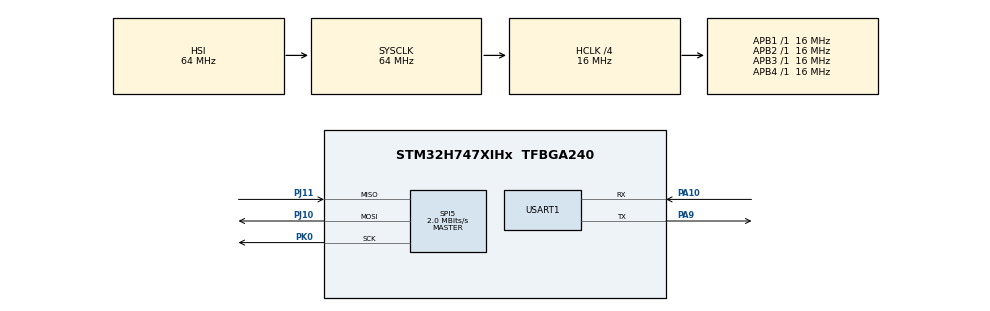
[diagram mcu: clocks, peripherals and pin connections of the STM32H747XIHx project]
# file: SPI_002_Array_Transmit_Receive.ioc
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CortexM4.IPs=BDMA,DMA,FATFS_M4\:I,FREERTOS_M4\:I,IWDG2\:I,MDMA,NVIC2\:I,RCC,USB_DEVICE_M4\:I,USB_HOST_M4\:I,WWDG2\:I,ADC1\:I,DCMI\:I,TIM3\:I,DEBUG,PDM2PCM_M4\:I,PWR,RESMGR_UTILITY,SYS_M4\:I,CORTEX_M4\:I,OPENAMP_M4\:I,VREFBUF,GPIO
CortexM7.IPs=BDMA\:I,DMA\:I,FATFS_M7\:I,FREERTOS_M7\:I,IWDG1\:I,MDMA\:I,NVIC1\:I,RCC\:I,USB_DEVICE_M7\:I,USB_HOST_M7\:I,WWDG1\:I,CORTEX_M7\:I,DEBUG\:I,PDM2PCM_M7\:I,PWR\:I,RESMGR_UTILITY\:I,SYS\:I,OPENAMP_M7\:I,VREFBUF\:I,GPIO\:I,SPI5\:I,USART1\:I
Mcu.Family=STM32H7
Mcu.Name=STM32H747XIHx
Mcu.Package=TFBGA240
NVIC1.PriorityGroup=NVIC_PRIORITYGROUP_4
NVIC1.SPI5_IRQn=true\:0\:0\:false\:false\:true\:true\:true\:true
NVIC2.PriorityGroup=NVIC_PRIORITYGROUP_4
PA10.Mode=Asynchronous
PA10.PinAttribute=CortexM7
PA10.Signal=USART1_RX
PA9.Mode=Asynchronous
PA9.PinAttribute=CortexM7
PA9.Signal=USART1_TX
PJ10.Mode=Full_Duplex_Master
PJ10.PinAttribute=CortexM7
PJ10.Signal=SPI5_MOSI
PJ11.Mode=Full_Duplex_Master
PJ11.PinAttribute=CortexM7
PJ11.Signal=SPI5_MISO
PK0.Mode=Full_Duplex_Master
PK0.PinAttribute=CortexM7
PK0.Signal=SPI5_SCK
ProjectManager.HeapSize=M4-0x200,M7-0x200
ProjectManager.StackSize=M4-0x400,M7-0x400
ProjectManager.TargetToolchain=STM32CubeIDE
RCC.ADCFreq_Value=75000000
RCC.APB1Freq_Value=16000000
RCC.APB2Freq_Value=16000000
RCC.APB3Freq_Value=16000000
RCC.APB4Freq_Value=16000000
RCC.CortexFreq_Value=64000000
RCC.DIVM2=4
RCC.DIVN2=9
RCC.HCLKFreq_Value=16000000
RCC.HPRE=RCC_HCLK_DIV4
RCC.PLL2FRACN=3072
RCC.PWR_Regulator_Voltage_Scale=PWR_REGULATOR_VOLTAGE_SCALE1
RCC.SYSCLKFreq_VALUE=64000000
RCC.SupplySource=PWR_DIRECT_SMPS_SUPPLY
RCC.USBFreq_Value=129000000
SPI5.BaudRatePrescaler=SPI_BAUDRATEPRESCALER_8
SPI5.CalculateBaudRate=2.0 MBits/s
SPI5.DataSize=SPI_DATASIZE_8BIT
SPI5.Direction=SPI_DIRECTION_2LINES
SPI5.Mode=SPI_MODE_MASTER
SPI5.VirtualType=VM_MASTER
USART1.VirtualMode-Asynchronous=VM_ASYNC
VP_SYS_M4_VS_Systick.Mode=SysTick
board=STM32H747I-DISCO

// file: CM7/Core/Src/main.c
/* USER CODE BEGIN Header */
/**
  ******************************************************************************
  * @file           : main.c
  * @brief          : Main program body
  ******************************************************************************
  * @attention
  *
  * Copyright (c) 2024 STMicroelectronics.
  * All rights reserved.
  *
  * This software is licensed under terms that can be found in the LICENSE file
  * in the root directory of this software component.
  * If no LICENSE file comes with this software, it is provided AS-IS.
  *
  ******************************************************************************
  */
/* USER CODE END Header */
#include "main.h"

/* USER CODE BEGIN Includes */
#include "stdio.h"
/* USER CODE END Includes */

/* USER CODE BEGIN PD */

#ifndef HSEM_ID_0
#define HSEM_ID_0 (0U) /* HW semaphore 0*/
#endif

/* USER CODE END PD */

SPI_HandleTypeDef hspi5;

UART_HandleTypeDef huart1;

/* USER CODE BEGIN PV */
uint8_t spi_tx_buffer[] = {1, 2, 3, 4, 5, 6, 7, 8, 9, 10}; // Data to send
uint8_t spi_rx_buffer[20] = {0};  // Buffer to store received data
volatile uint8_t spi_done = 0;    // SPI transaction complete flag

/* SPI Callback - Called when SPI transfer is complete */
void HAL_SPI_TxRxCpltCallback(SPI_HandleTypeDef *hspi)
{
    spi_done = 1; // Set flag to indicate SPI transaction complete
}
/* USER CODE END PV */

void SystemClock_Config(void);
static void MX_GPIO_Init(void);
static void MX_SPI5_Init(void);
static void MX_USART1_UART_Init(void);

/* USER CODE BEGIN 0 */
int __io_putchar(char ch)
{
    HAL_UART_Transmit(&huart1, (uint8_t *)&ch, 1, HAL_MAX_DELAY);
    return ch;
}

/* USER CODE END 0 */

int main(void)
{

/* USER CODE BEGIN Boot_Mode_Sequence_0 */
//  int32_t timeout;
/* USER CODE END Boot_Mode_Sequence_0 */

/* USER CODE BEGIN Boot_Mode_Sequence_1 */
  /* Wait until CPU2 boots and enters in stop mode or timeout*/
//  timeout = 0xFFFF;
//  while((__HAL_RCC_GET_FLAG(RCC_FLAG_D2CKRDY) != RESET) && (timeout-- > 0));
//  if ( timeout < 0 )
//  {
//  Error_Handler();
//  }
/* USER CODE END Boot_Mode_Sequence_1 */
  /* MCU Configuration--------------------------------------------------------*/

  /* Reset of all peripherals, Initializes the Flash interface and the Systick. */
  HAL_Init();

  /* Configure the system clock */
  SystemClock_Config();
/* USER CODE BEGIN Boot_Mode_Sequence_2 */
/* When system initialization is finished, Cortex-M7 will release Cortex-M4 by means of
HSEM notification */
/*HW semaphore Clock enable*/
//__HAL_RCC_HSEM_CLK_ENABLE();
///*Take HSEM */
//HAL_HSEM_FastTake(HSEM_ID_0);
///*Release HSEM in order to notify the CPU2(CM4)*/
//HAL_HSEM_Release(HSEM_ID_0,0);
///* wait until CPU2 wakes up from stop mode */
//timeout = 0xFFFF;
//while((__HAL_RCC_GET_FLAG(RCC_FLAG_D2CKRDY) == RESET) && (timeout-- > 0));
//if ( timeout < 0 )
//{
//Error_Handler();
//}
/* USER CODE END Boot_Mode_Sequence_2 */

  /* Initialize all configured peripherals */
  MX_GPIO_Init();
  MX_SPI5_Init();
  MX_USART1_UART_Init();

  /* Infinite loop */
  /* USER CODE BEGIN WHILE */
  while (1)
  {
	  /* Start SPI Communication */
	         spi_done = 0; // Reset the flag
	         HAL_SPI_TransmitReceive_IT(&hspi5, spi_tx_buffer, spi_rx_buffer, sizeof(spi_tx_buffer));
	         printf("Received Array: ");
	         /* Wait for SPI Transaction to Complete */
	         while (!spi_done);

	         /* Print Received Array Numbers */
	         printf("Received Array: ");
	         for (int i = 0; i < sizeof(spi_rx_buffer); i++)
	         {
	             printf("%d ", spi_rx_buffer[i]);
	         }
	         printf("\n");

	         HAL_Delay(1000); // Delay 1 second before next transaction

    /* USER CODE END WHILE */

  }
}

void SystemClock_Config(void)
{
  RCC_OscInitTypeDef RCC_OscInitStruct = {0};
  RCC_ClkInitTypeDef RCC_ClkInitStruct = {0};

  /** Supply configuration update enable
  */
  HAL_PWREx_ConfigSupply(PWR_DIRECT_SMPS_SUPPLY);

  /** Configure the main internal regulator output voltage
  */
  __HAL_PWR_VOLTAGESCALING_CONFIG(PWR_REGULATOR_VOLTAGE_SCALE1);

  while(!__HAL_PWR_GET_FLAG(PWR_FLAG_VOSRDY)) {}

  /** Initializes the RCC Oscillators according to the specified parameters
  * in the RCC_OscInitTypeDef structure.
  */
  RCC_OscInitStruct.OscillatorType = RCC_OSCILLATORTYPE_HSI;
  RCC_OscInitStruct.HSIState = RCC_HSI_DIV1;
  RCC_OscInitStruct.HSICalibrationValue = RCC_HSICALIBRATION_DEFAULT;
  RCC_OscInitStruct.PLL.PLLState = RCC_PLL_NONE;
  if (HAL_RCC_OscConfig(&RCC_OscInitStruct) != HAL_OK)
  {
    Error_Handler();
  }

  /** Initializes the CPU, AHB and APB buses clocks
  */
  RCC_ClkInitStruct.ClockType = RCC_CLOCKTYPE_HCLK|RCC_CLOCKTYPE_SYSCLK
                              |RCC_CLOCKTYPE_PCLK1|RCC_CLOCKTYPE_PCLK2
                              |RCC_CLOCKTYPE_D3PCLK1|RCC_CLOCKTYPE_D1PCLK1;
  RCC_ClkInitStruct.SYSCLKSource = RCC_SYSCLKSOURCE_HSI;
  RCC_ClkInitStruct.SYSCLKDivider = RCC_SYSCLK_DIV1;
  RCC_ClkInitStruct.AHBCLKDivider = RCC_HCLK_DIV4;
  RCC_ClkInitStruct.APB3CLKDivider = RCC_APB3_DIV1;
  RCC_ClkInitStruct.APB1CLKDivider = RCC_APB1_DIV1;
  RCC_ClkInitStruct.APB2CLKDivider = RCC_APB2_DIV1;
  RCC_ClkInitStruct.APB4CLKDivider = RCC_APB4_DIV1;

  if (HAL_RCC_ClockConfig(&RCC_ClkInitStruct, FLASH_LATENCY_0) != HAL_OK)
  {
    Error_Handler();
  }
}

static void MX_SPI5_Init(void)
{

  /* SPI5 parameter configuration*/
  hspi5.Instance = SPI5;
  hspi5.Init.Mode = SPI_MODE_MASTER;
  hspi5.Init.Direction = SPI_DIRECTION_2LINES;
  hspi5.Init.DataSize = SPI_DATASIZE_8BIT;
  hspi5.Init.CLKPolarity = SPI_POLARITY_LOW;
  hspi5.Init.CLKPhase = SPI_PHASE_1EDGE;
  hspi5.Init.NSS = SPI_NSS_SOFT;
  hspi5.Init.BaudRatePrescaler = SPI_BAUDRATEPRESCALER_8;
  hspi5.Init.FirstBit = SPI_FIRSTBIT_MSB;
  hspi5.Init.TIMode = SPI_TIMODE_DISABLE;
  hspi5.Init.CRCCalculation = SPI_CRCCALCULATION_DISABLE;
  hspi5.Init.CRCPolynomial = 0x0;
  hspi5.Init.NSSPMode = SPI_NSS_PULSE_ENABLE;
  hspi5.Init.NSSPolarity = SPI_NSS_POLARITY_LOW;
  hspi5.Init.FifoThreshold = SPI_FIFO_THRESHOLD_01DATA;
  hspi5.Init.TxCRCInitializationPattern = SPI_CRC_INITIALIZATION_ALL_ZERO_PATTERN;
  hspi5.Init.RxCRCInitializationPattern = SPI_CRC_INITIALIZATION_ALL_ZERO_PATTERN;
  hspi5.Init.MasterSSIdleness = SPI_MASTER_SS_IDLENESS_00CYCLE;
  hspi5.Init.MasterInterDataIdleness = SPI_MASTER_INTERDATA_IDLENESS_00CYCLE;
  hspi5.Init.MasterReceiverAutoSusp = SPI_MASTER_RX_AUTOSUSP_DISABLE;
  hspi5.Init.MasterKeepIOState = SPI_MASTER_KEEP_IO_STATE_DISABLE;
  hspi5.Init.IOSwap = SPI_IO_SWAP_DISABLE;
  if (HAL_SPI_Init(&hspi5) != HAL_OK)
  {
    Error_Handler();
  }

}

static void MX_USART1_UART_Init(void)
{

  huart1.Instance = USART1;
  huart1.Init.BaudRate = 115200;
  huart1.Init.WordLength = UART_WORDLENGTH_8B;
  huart1.Init.StopBits = UART_STOPBITS_1;
  huart1.Init.Parity = UART_PARITY_NONE;
  huart1.Init.Mode = UART_MODE_TX_RX;
  huart1.Init.HwFlowCtl = UART_HWCONTROL_NONE;
  huart1.Init.OverSampling = UART_OVERSAMPLING_16;
  huart1.Init.OneBitSampling = UART_ONE_BIT_SAMPLE_DISABLE;
  huart1.Init.ClockPrescaler = UART_PRESCALER_DIV1;
  huart1.AdvancedInit.AdvFeatureInit = UART_ADVFEATURE_NO_INIT;
  if (HAL_UART_Init(&huart1) != HAL_OK)
  {
    Error_Handler();
  }
  if (HAL_UARTEx_SetTxFifoThreshold(&huart1, UART_TXFIFO_THRESHOLD_1_8) != HAL_OK)
  {
    Error_Handler();
  }
  if (HAL_UARTEx_SetRxFifoThreshold(&huart1, UART_RXFIFO_THRESHOLD_1_8) != HAL_OK)
  {
    Error_Handler();
  }
  if (HAL_UARTEx_DisableFifoMode(&huart1) != HAL_OK)
  {
    Error_Handler();
  }

}

static void MX_GPIO_Init(void)
{

  /* GPIO Ports Clock Enable */
  __HAL_RCC_GPIOA_CLK_ENABLE();
  __HAL_RCC_GPIOK_CLK_ENABLE();
  __HAL_RCC_GPIOJ_CLK_ENABLE();

}

void Error_Handler(void)
{
  __disable_irq();
  while (1)
  {
  }
}
